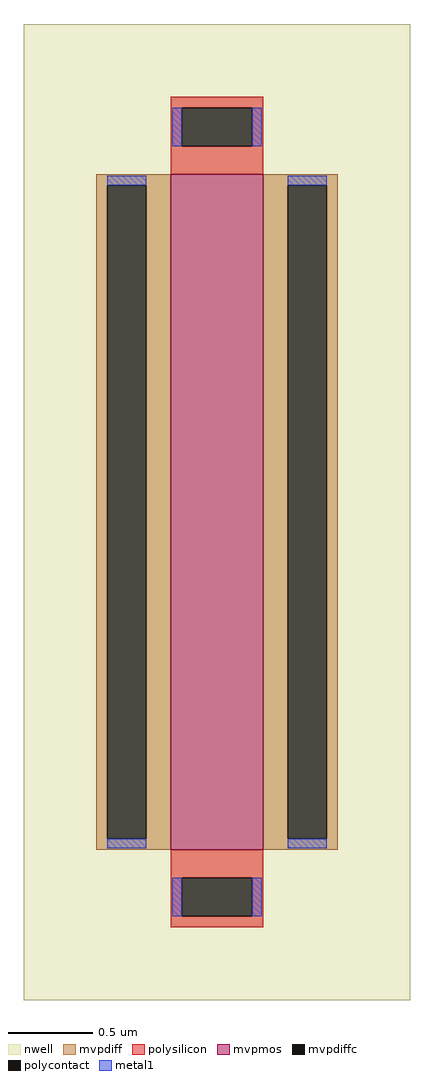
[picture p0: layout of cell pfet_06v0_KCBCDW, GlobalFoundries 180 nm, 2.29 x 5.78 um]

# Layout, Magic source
magic
tech gf180mcuD
magscale 1 10
<< nwell >>
rect -229 -578 229 578
<< mvpmos >>
rect -55 -400 55 400
<< mvpdiff >>
rect -143 387 -55 400
rect -143 -387 -130 387
rect -84 -387 -55 387
rect -143 -400 -55 -387
rect 55 387 143 400
rect 55 -387 84 387
rect 130 -387 143 387
rect 55 -400 143 -387
<< mvpdiffc >>
rect -130 -387 -84 387
rect 84 -387 130 387
<< polysilicon >>
rect -55 479 55 492
rect -55 433 -42 479
rect 42 433 55 479
rect -55 400 55 433
rect -55 -433 55 -400
rect -55 -479 -42 -433
rect 42 -479 55 -433
rect -55 -492 55 -479
<< polycontact >>
rect -42 433 42 479
rect -42 -479 42 -433
<< metal1 >>
rect -53 433 -42 479
rect 42 433 53 479
rect -130 387 -84 398
rect -130 -398 -84 -387
rect 84 387 130 398
rect 84 -398 130 -387
rect -53 -479 -42 -433
rect 42 -479 53 -433
<< properties >>
string gencell pfet_06v0
string library gf180mcu
string parameters w 4 l 0.55 m 1 nf 1 diffcov 100 polycov 100 guard 0 glc 1 grc 1 gtc 0 gbc 0 tbcov 100 rlcov 100 topc 1 botc 1 poverlap 0 doverlap 1 lmin 0.28 wmin 0.22 class mosfet full_metal 1 compatible {pfet_03v3 pfet_06v0}
<< end >>
